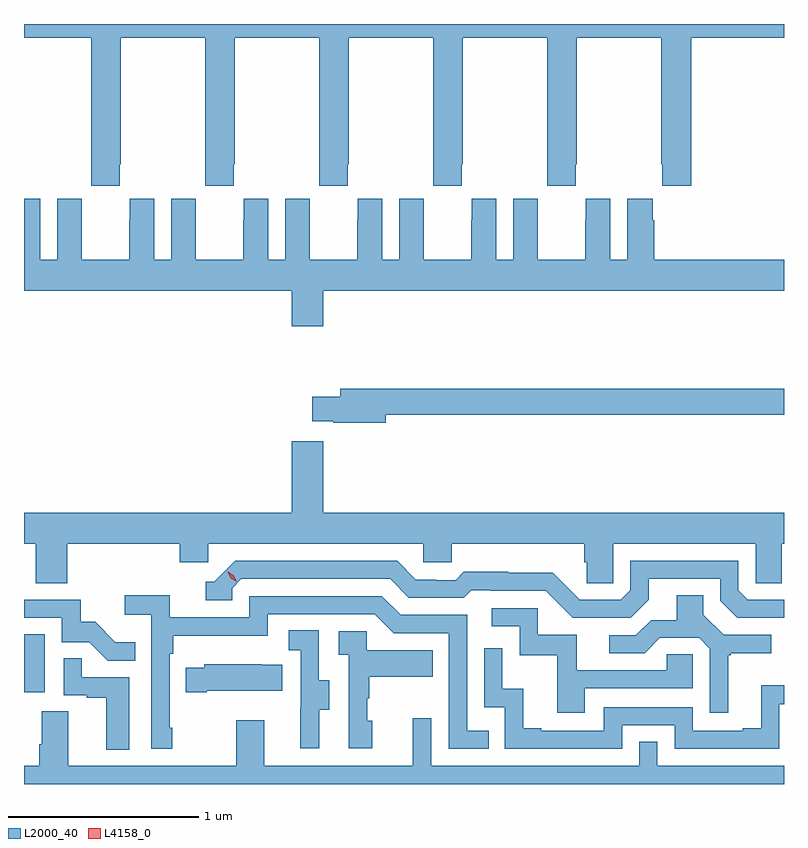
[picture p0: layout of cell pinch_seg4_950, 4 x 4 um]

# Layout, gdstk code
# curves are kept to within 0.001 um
import gdstk
lib = gdstk.Library(unit=1e-6, precision=1e-09)
def R(c, l, rs):  # rectangles x0, y0, x1, y1
    for r in rs: c.add(gdstk.rectangle(r[:2], r[2:], *l))
def P(c, l, *ps):  # polygons
    for p in ps: c.add(gdstk.Polygon(p, *l))
L2000_40 = (2000, 40)
L4158_0 = (4158, 0)

pinch_seg4_950 = lib.new_cell('pinch_seg4_950')
R(pinch_seg4_950, L2000_40, [(858.902,774.726,859.012,775.033)])
P(pinch_seg4_950, L2000_40, [(859.407,777.505),(859.41,777.505),(859.41,778.172),(859.855,778.172),(859.855,777.505),(859.857,777.505),(859.857,777.393),(860.007,777.393),(860.007,777.505),(860.01,777.505),(860.01,778.172),(860.455,778.172),(860.455,777.505),(860.457,777.505),(860.457,777.393),(860.607,777.393),(860.607,777.505),(860.61,777.505),(860.61,778.172),(861.055,778.172),(861.055,777.505),(861.057,777.505),(861.057,777.393),(861.207,777.393),(861.207,777.505),(861.21,777.505),(861.21,778.172),(861.655,778.172),(861.655,777.505),(861.657,777.505),(861.657,777.393),(861.807,777.393),(861.807,777.505),(861.81,777.505),(861.81,778.172),(862.255,778.172),(862.255,777.505),(862.261,777.505),(862.261,777.393),(862.415,777.393),(862.415,778.172),(862.902,778.172),(862.902,778.244),(858.902,778.244),(858.902,778.172),(859.255,778.172),(859.255,777.505),(859.257,777.505),(859.257,777.393),(859.407,777.393)],
  [(860.476,776.84),(862.902,776.84),(862.902,777.004),(862.22,777.004),(862.22,777.212),(862.21,777.212),(862.21,777.325),(862.076,777.325),(862.076,777.004),(861.988,777.004),(861.988,777.325),(861.858,777.325),(861.858,777.212),(861.857,777.212),(861.857,777.004),(861.607,777.004),(861.607,777.212),(861.606,777.212),(861.606,777.325),(861.476,777.325),(861.476,777.004),(861.388,777.004),(861.388,777.325),(861.258,777.325),(861.258,777.212),(861.257,777.212),(861.257,777.004),(861.007,777.004),(861.007,777.212),(861.006,777.212),(861.006,777.325),(860.876,777.325),(860.876,777.004),(860.788,777.004),(860.788,777.325),(860.658,777.325),(860.658,777.212),(860.657,777.212),(860.657,777.004),(860.407,777.004),(860.407,777.212),(860.406,777.212),(860.406,777.325),(860.276,777.325),(860.276,777.004),(860.188,777.004),(860.188,777.325),(860.058,777.325),(860.058,777.212),(860.057,777.212),(860.057,777.004),(859.807,777.004),(859.807,777.212),(859.806,777.212),(859.806,777.325),(859.676,777.325),(859.676,777.004),(859.588,777.004),(859.588,777.325),(859.458,777.325),(859.458,777.212),(859.457,777.212),(859.457,777.004),(859.207,777.004),(859.207,777.212),(859.206,777.212),(859.206,777.325),(859.076,777.325),(859.076,777.004),(858.988,777.004),(858.988,777.325),(858.902,777.325),(858.902,776.84),(860.312,776.84),(860.312,776.652),(860.476,776.652)],
  [(860.806,776.188),(862.902,776.188),(862.902,776.324),(860.567,776.324),(860.567,776.283),(860.418,776.283),(860.418,776.153),(860.53,776.153),(860.53,776.146),(860.806,776.146)],
  [(859.13,775.508),(859.721,775.508),(859.721,775.41),(859.872,775.41),(859.872,775.508),(861.003,775.508),(861.003,775.41),(861.153,775.41),(861.153,775.508),(861.851,775.508),(861.851,775.41),(861.865,775.41),(861.865,775.3),(862.002,775.3),(862.002,775.508),(862.752,775.508),(862.752,775.3),(862.891,775.3),(862.891,775.508),(862.902,775.508),(862.902,775.672),(860.476,775.672),(860.476,776.047),(860.312,776.047),(860.312,775.672),(858.902,775.672),(858.902,775.508),(858.965,775.508),(858.965,775.3),(859.13,775.3)],
  [(862.902,775.215),(862.71,775.215),(862.662,775.263),(862.662,775.419),(862.092,775.419),(862.092,775.263),(862.044,775.215),(861.828,775.215),(861.686,775.357),(861.45,775.357),(861.45,775.36),(861.217,775.36),(861.175,775.317),(861.072,775.317),(861.072,775.32),(860.965,775.32),(860.866,775.419),(860.013,775.419),(859.902,775.308),(859.859,775.308),(859.859,775.212),(859.998,775.212),(859.998,775.275),(860.046,775.323),(860.829,775.323),(860.928,775.224),(861.217,775.224),(861.256,775.263),(861.355,775.263),(861.355,775.26),(861.648,775.26),(861.789,775.119),(862.095,775.119),(862.189,775.213),(862.189,775.323),(862.566,775.323),(862.566,775.209),(862.656,775.119),(862.902,775.118)],
  [(859.681,774.541),(859.668,774.541),(859.668,774.929),(859.688,774.929),(859.688,775.025),(860.184,775.025),(860.184,775.137),(860.748,775.137),(860.847,775.038),(861.138,775.038),(861.138,774.429),(861.347,774.429),(861.347,774.525),(861.234,774.525),(861.234,775.134),(860.884,775.134),(860.785,775.233),(860.088,775.233),(860.088,775.122),(859.67,775.122),(859.67,775.238),(859.431,775.238),(859.431,775.136),(859.572,775.136),(859.572,774.429),(859.681,774.429)],
  [(862.609,774.921),(862.621,774.921),(862.621,774.932),(862.834,774.932),(862.834,775.029),(862.584,775.029),(862.477,775.136),(862.477,775.238),(862.337,775.238),(862.337,775.106),(862.202,775.106),(862.122,775.026),(861.981,775.026),(861.981,774.933),(862.168,774.933),(862.249,775.014),(862.455,775.014),(862.512,774.957),(862.512,774.618),(862.609,774.618)],
  [(859.487,774.991),(859.383,774.991),(859.276,775.098),(859.2,775.098),(859.2,775.215),(858.902,775.215),(858.902,775.119),(859.101,775.119),(859.101,774.99),(859.246,774.99),(859.344,774.892),(859.487,774.892)],
  [(861.853,774.747),(862.422,774.747),(862.422,774.927),(862.285,774.927),(862.285,774.843),(861.811,774.843),(861.811,775.029),(861.606,775.029),(861.606,775.17),(861.363,775.17),(861.363,775.074),(861.51,775.074),(861.51,774.921),(861.709,774.921),(861.709,774.618),(861.853,774.618)],
  [(860.455,774.634),(860.509,774.634),(860.509,774.789),(860.454,774.789),(860.454,775.052),(860.295,775.052),(860.295,774.949),(860.358,774.949),(860.358,774.645),(860.357,774.645),(860.357,774.432),(860.455,774.432)],
  [(860.734,774.576),(860.709,774.576),(860.709,774.695),(860.719,774.695),(860.719,774.809),(861.053,774.809),(861.053,774.949),(860.706,774.949),(860.706,775.047),(860.559,775.047),(860.559,774.923),(860.61,774.923),(860.61,774.432),(860.734,774.432)],
  [(862.05,774.552),(862.326,774.552),(862.326,774.429),(862.878,774.429),(862.878,774.665),(862.902,774.665),(862.902,774.763),(862.781,774.763),(862.781,774.538),(862.685,774.538),(862.685,774.525),(862.422,774.525),(862.422,774.648),(861.954,774.648),(861.954,774.525),(861.625,774.525),(861.625,774.538),(861.53,774.538),(861.53,774.746),(861.42,774.746),(861.42,774.958),(861.324,774.958),(861.324,774.648),(861.432,774.648),(861.432,774.429),(862.05,774.429)],
  [(859.456,774.807),(859.205,774.807),(859.205,774.905),(859.11,774.905),(859.11,774.711),(859.231,774.711),(859.231,774.699),(859.334,774.699),(859.334,774.425),(859.456,774.425)],
  [(859.864,774.734),(860.261,774.734),(860.261,774.871),(860.153,774.871),(860.153,774.874),(859.851,774.874),(859.851,774.856),(859.753,774.856),(859.753,774.727),(859.864,774.727)],
  [(862.902,774.34),(862.236,774.34),(862.236,774.467),(862.14,774.467),(862.14,774.34),(861.045,774.34),(861.045,774.589),(860.948,774.589),(860.948,774.34),(860.167,774.34),(860.167,774.58),(860.02,774.58),(860.02,774.34),(859.135,774.34),(859.135,774.626),(858.995,774.626),(858.995,774.452),(858.983,774.452),(858.983,774.34),(858.902,774.34),(858.902,774.244),(862.902,774.244)])
P(pinch_seg4_950, L4158_0, [(860.021,775.308),(859.991,775.328),(859.975,775.361),(859.975,775.362),(859.976,775.362),(860.006,775.341),(860.022,775.309),(860.022,775.308)])

lib.write_gds('pinch_seg4_950.gds')
